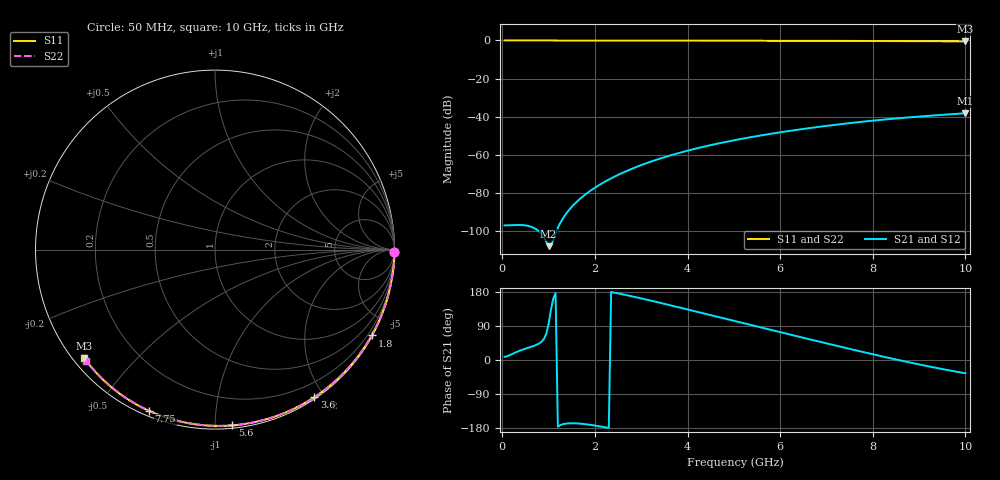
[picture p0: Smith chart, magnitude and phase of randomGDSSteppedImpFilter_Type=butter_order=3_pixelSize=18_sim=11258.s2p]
! freq	dB(S11)	phase(S11)	dB(S12)	phase(S12)
!  dB(S21)	phase(S21)	dB(S22)	phase(S22)
!S-par simulation data
#  GHz  S  DB  R 50
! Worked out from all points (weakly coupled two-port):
!   200 points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, 50 MHz to 10 GHz, reference 50 ohm
!   highest |S21| = -38.13 dB at 10 GHz (marker M1); lowest = -107.7 dB at 1 GHz (marker M2)
!   lowest |S11| = -0.5 dB at 10 GHz (marker M3), VSWR 36.64, Z = 1.54 - j18 ohm
!   |S11| at or under -10 dB: nowhere
!   |S22| runs from -0.5 to 0.0 dB; largest |S21 - S12| = 0
!   S11 on the Smith chart (normalised r, x): 50 MHz: open; 1.8 GHz: 0.03, -3.91; 3.6 GHz: 0.02, -1.88; 5.6 GHz: 0.02, -1.10; 7.75 GHz: 0.02, -0.67; 10 GHz: 0.03, -0.36
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0.05  -0.00 -0.8  -96.88 8.5  -96.88 8.5  -0.00 -0.8
0.5  -0.01 -8.1  -96.89 29.9  -96.89 29.9  -0.01 -8.1
1  -0.02 -16.1  -107.75 95.0  -107.75 95.0  -0.02 -16.0
1.75  -0.04 -27.9  -81.50 -168.8  -81.50 -168.8  -0.04 -27.8
1.8  -0.04 -28.7  -80.54 -169.5  -80.54 -169.5  -0.04 -28.6
1.85  -0.04 -29.5  -79.63 -170.3  -79.63 -170.3  -0.04 -29.3
2.05  -0.04 -32.6  -76.35 -173.9  -76.35 -173.9  -0.04 -32.4
2.25  -0.05 -35.7  -73.51 -178.2  -73.51 -178.2  -0.05 -35.5
2.55  -0.05 -40.3  -69.84 174.6  -69.84 174.6  -0.05 -40.1
2.95  -0.06 -46.4  -65.75 163.9  -65.75 163.9  -0.06 -46.2
3.4  -0.07 -53.1  -61.92 151.1  -61.92 151.1  -0.07 -52.9
3.6  -0.08 -56.1  -60.42 145.3  -60.42 145.3  -0.08 -55.8
3.9  -0.08 -60.5  -58.37 136.4  -58.37 136.4  -0.08 -60.2
4.3  -0.09 -66.2  -55.93 124.3  -55.93 124.3  -0.09 -65.9
5.05  -0.12 -76.8  -52.06 101.7  -52.06 101.7  -0.12 -76.4
5.6  -0.14 -84.3  -49.67 85.3  -49.67 85.3  -0.14 -83.9
6.15  -0.16 -91.7  -47.56 68.9  -47.56 68.9  -0.16 -91.2
6.7  -0.19 -98.9  -45.68 52.7  -45.68 52.7  -0.19 -98.4
7.75  -0.26 -112.3  -42.63 22.2  -42.63 22.2  -0.26 -111.7
8.35  -0.31 -119.8  -41.20 5.4  -41.20 5.4  -0.31 -119.1
9.15  -0.38 -129.7  -39.58 -15.5  -39.58 -15.5  -0.38 -128.9
10  -0.47 -140.4  -38.13 -35.0  -38.13 -35.0  -0.48 -139.2
